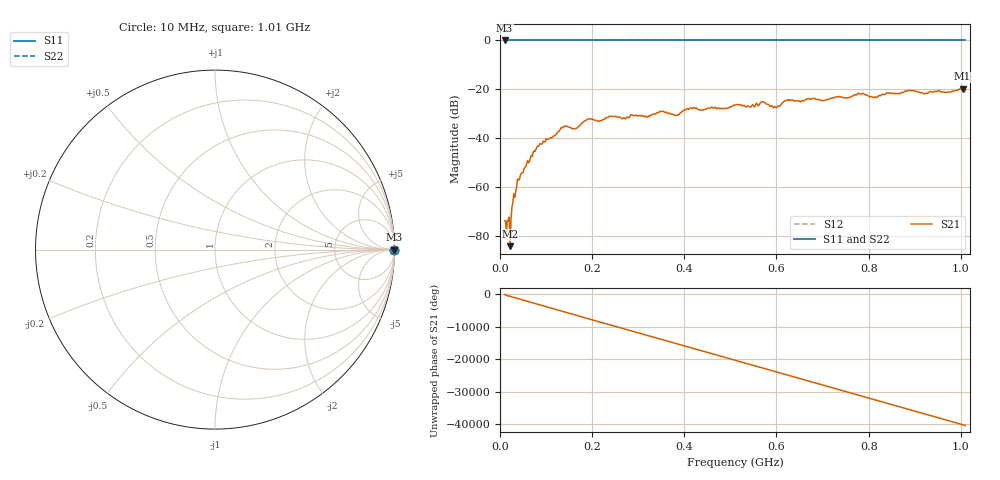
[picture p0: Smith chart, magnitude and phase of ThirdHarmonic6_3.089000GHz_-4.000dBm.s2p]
! 8/17/2025 9:04:43 AM
! C:\ANRITSUVNA\TEMP\TEMP.S2P
! CHANNEL.1
! TR.MEASUREMENT
! RAW.DATA
! RF.CORRECTION.OFF
! AVERAGING.OFF
! IF.BANDWIDTH: 5KHZ
! SWEEPTYPE:  FREQ.SWEEP(Linear)
! Reference Plane Port Info
! PORT:  PORT1  PORT2
! DISTANCE:  0  m  0  m
! TIME:  0  s  0  s
! PHASE.OFFSET:  0  deg.  0  deg.
! LOSS:  0  dB  0  dB
! REF.LOSS:  0  dB  0  dB
! REF.FREQ:  0  Hz  0  Hz
! Power Info
! POWER:  -20  dBm  -20  dBm
! EFF.POWER:  -20  dBm  -20  dBm
! SOURCE.ATTEN:  0  dB  0  dB
! TEST.ATTEN:  0  dB  0  dB
# GHZ S RI R 50.0
! FREQ.GHZ  S11RE  S11IM  S21RE  S21IM  S12RE  S12IM  S22RE  S22IM
!; PortSelection: Port_12
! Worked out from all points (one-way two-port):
!   501 points, 10 MHz to 1.01 GHz, reference 50 ohm
!   highest |S21| = -19.75 dB at 1.004 GHz (marker M1); lowest = -84.2 dB at 22 MHz (marker M2)
!   lowest |S11| = 0.0 dB at 10 MHz (marker M3)
!   |S11| at or under -10 dB: nowhere
!   |S22| runs from 0.0 to 0.0 dB; largest |S21 - S12| = 1.1
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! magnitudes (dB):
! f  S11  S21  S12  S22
! 10 MHz  0.0  -73.8  0.0  0.0
! 18 MHz  0.0  -73.9  0.0  0.0
! 22 MHz  0.0  -84.2  0.0  0.0
! 34 MHz  0.0  -62.0  0.0  0.0
! 42 MHz  0.0  -56.9  0.0  0.0
! 76 MHz  0.0  -45.4  0.0  0.0
! 136 MHz  0.0  -35.7  0.0  0.0
! 162 MHz  0.0  -36.2  0.0  0.0
! 178 MHz  0.0  -33.8  0.0  0.0
! 344 MHz  0.0  -29.5  0.0  0.0
! 382 MHz  0.0  -30.7  0.0  0.0
! 416 MHz  0.0  -27.7  0.0  0.0
! 510 MHz  0.0  -26.4  0.0  0.0
! 570 MHz  0.0  -25.0  0.0  0.0
! 598 MHz  0.0  -27.2  0.0  0.0
! 622 MHz  0.0  -24.6  0.0  0.0
! 678 MHz  0.0  -23.8  0.0  0.0
! 782 MHz  0.0  -21.9  0.0  0.0
! 814 MHz  0.0  -23.1  0.0  0.0
! 844 MHz  0.0  -21.6  0.0  0.0
! 1.004 GHz  0.0  -19.8  0.0  0.0
! 1.01 GHz  0.0  -20.5  0.0  0.0
